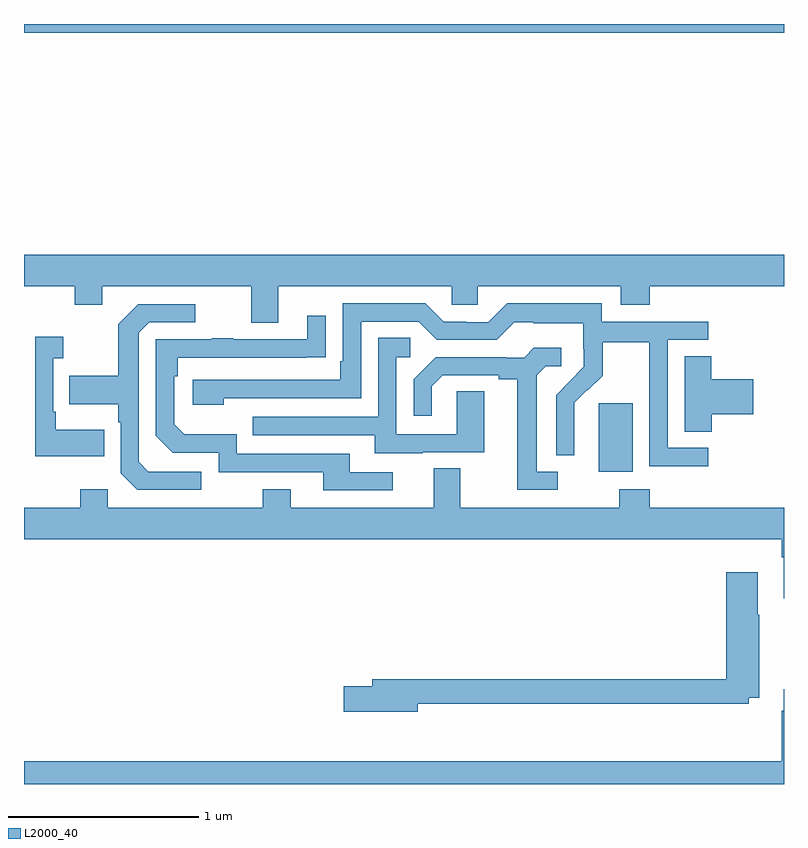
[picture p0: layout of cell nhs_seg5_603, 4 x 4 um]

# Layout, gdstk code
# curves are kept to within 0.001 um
import gdstk
lib = gdstk.Library(unit=1e-6, precision=1e-09)
def R(c, l, rs):  # rectangles x0, y0, x1, y1
    for r in rs: c.add(gdstk.rectangle(r[:2], r[2:], *l))
def P(c, l, *ps):  # polygons
    for p in ps: c.add(gdstk.Polygon(p, *l))
L2000_40 = (2000, 40)

nhs_seg5_603 = lib.new_cell('nhs_seg5_603')
R(nhs_seg5_603, L2000_40, [(152.024,862.442,152.203,862.803), (149,864.752,153,864.799)])
P(nhs_seg5_603, L2000_40, [(150.337,863.42),(151.251,863.42),(151.251,863.322),(151.389,863.322),(151.389,863.42),(152.141,863.42),(152.141,863.321),(152.294,863.321),(152.294,863.42),(153,863.42),(153,863.584),(149,863.584),(149,863.42),(149.266,863.42),(149.266,863.321),(149.413,863.321),(149.413,863.42),(150.197,863.42),(150.197,863.226),(150.337,863.226)],
  [(152.602,862.569),(152.388,862.569),(152.388,863.136),(152.602,863.136),(152.602,863.232),(152.04,863.232),(152.04,863.329),(151.543,863.329),(151.443,863.229),(151.328,863.229),(151.328,863.232),(151.209,863.232),(151.113,863.328),(150.678,863.328),(150.678,863.023),(150.665,863.023),(150.665,862.926),(149.889,862.926),(149.889,862.796),(150.05,862.796),(150.05,862.83),(150.774,862.83),(150.774,863.232),(151.077,863.232),(151.173,863.136),(151.488,863.136),(151.581,863.229),(151.681,863.229),(151.681,863.225),(151.944,863.225),(151.944,863.091),(151.946,863.091),(151.946,862.994),(151.8,862.846),(151.8,862.528),(151.896,862.528),(151.895,862.805),(151.965,862.875),(151.968,862.872),(152.045,862.949),(152.045,863.124),(152.29,863.124),(152.29,862.9),(152.292,862.9),(152.292,862.471),(152.602,862.471)],
  [(149.932,862.443),(149.655,862.443),(149.604,862.494),(149.604,863.175),(149.658,863.229),(149.902,863.229),(149.902,863.325),(149.601,863.325),(149.496,863.219),(149.496,862.947),(149.239,862.947),(149.239,862.799),(149.496,862.799),(149.496,862.703),(149.508,862.703),(149.508,862.434),(149.595,862.347),(149.932,862.347)],
  [(150.94,862.44),(150.715,862.44),(150.715,862.536),(150.12,862.536),(150.12,862.639),(149.843,862.639),(149.79,862.692),(149.79,862.946),(149.81,862.946),(149.81,863.043),(150.587,863.044),(150.587,863.263),(150.491,863.263),(150.491,863.139),(150.101,863.139),(150.101,863.144),(149.989,863.144),(149.989,863.139),(149.694,863.139),(149.694,862.632),(149.784,862.542),(150.024,862.542),(150.024,862.44),(150.575,862.44),(150.575,862.344),(150.94,862.344)],
  [(149.423,862.663),(149.167,862.663),(149.167,862.759),(149.154,862.759),(149.154,863.039),(149.206,863.039),(149.206,863.152),(149.058,863.152),(149.058,862.523),(149.423,862.523)],
  [(151.099,862.545),(151.423,862.545),(151.423,862.865),(151.278,862.865),(151.278,862.641),(150.96,862.641),(150.96,863.046),(151.033,863.046),(151.033,863.147),(150.864,863.147),(150.864,862.731),(150.205,862.731),(150.205,862.635),(150.845,862.635),(150.845,862.541),(151.099,862.541)],
  [(151.81,862.443),(151.699,862.443),(151.699,862.951),(151.746,862.998),(151.828,862.998),(151.828,863.095),(151.684,863.095),(151.632,863.043),(151.538,863.043),(151.538,863.046),(151.166,863.046),(151.05,862.93),(151.05,862.737),(151.147,862.737),(151.147,862.893),(151.204,862.95),(151.499,862.95),(151.499,862.928),(151.595,862.928),(151.595,862.347),(151.81,862.347)],
  [(152.621,862.745),(152.839,862.745),(152.839,862.928),(152.616,862.928),(152.616,863.051),(152.477,863.051),(152.477,862.654),(152.621,862.654)],
  [(153,862.252),(152.294,862.252),(152.294,862.351),(152.134,862.351),(152.134,862.252),(151.297,862.252),(151.297,862.46),(151.157,862.46),(151.157,862.252),(150.403,862.252),(150.403,862.351),(150.256,862.351),(150.256,862.252),(149.442,862.252),(149.442,862.351),(149.296,862.351),(149.296,862.252),(149,862.252),(149,862.088),(152.987,862.088),(152.987,861.992),(152.999,861.992),(152.999,861.777),(153,861.777)],
  [(151.072,861.222),(152.814,861.222),(152.814,861.254),(152.871,861.254),(152.871,861.689),(152.863,861.689),(152.863,861.913),(152.696,861.913),(152.696,861.35),(150.833,861.35),(150.833,861.314),(150.684,861.314),(150.684,861.179),(151.072,861.179)],
  [(153,861.298),(152.999,861.298),(152.999,861.185),(152.987,861.185),(152.987,860.92),(149,860.92),(149,860.799),(153,860.799)])

lib.write_gds('nhs_seg5_603.gds')
